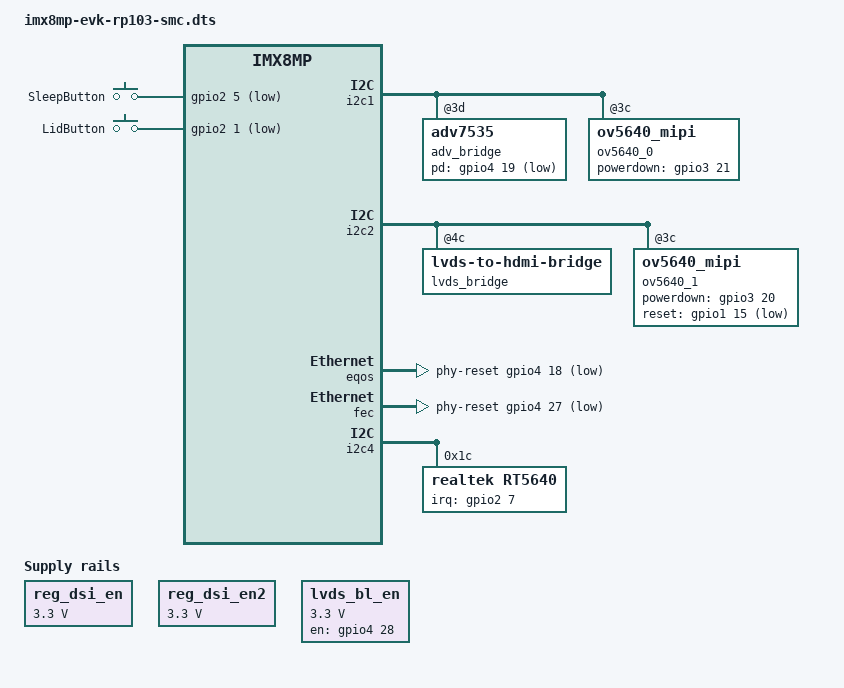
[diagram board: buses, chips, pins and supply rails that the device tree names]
// SPDX-License-Identifier: (GPL-2.0+ OR MIT)
/*
 * Copyright 2019 NXP
 */
#include "imx8mp-evk.dts"

/delete-node/ &reg_m2_3v3;
/delete-node/ &lvds_bl_pwren;
/delete-node/ &rt5640;
/delete-node/ &reg_vdcdc6_5v;
/{
    hms_pwr_3g {
		/delete-property/ chip_power_gpio;
    };

	reg_dsi_en: dsien {
		compatible = "regulator-gpio";
		pinctrl-names = "default";
		pinctrl-0 = <&pinctrl_dsi_en>;
		regulator-min-microvolt = <3300000>;
		regulator-max-microvolt = <3300000>;
		regulator-name = "gpio_dvfs";
		gpios = <&gpio4 22 GPIO_ACTIVE_LOW>;
		states = <3300000 0x1 3300000 0x0>;
		enable-active-low;
		regulator-always-on;
	};

	reg_dsi_en2: dsien2 {
		compatible = "regulator-gpio";
		pinctrl-names = "default";
		pinctrl-0 = <&pinctrl_dsi_en2>;
		regulator-min-microvolt = <3300000>;
		regulator-max-microvolt = <3300000>;
		regulator-name = "gpio_dvfs2";
		gpios = <&gpio2 10 GPIO_ACTIVE_HIGH>;
		states = <3300000 0x1 3300000 0x0>;
		enable-active-high;
		regulator-always-on;
	};

	lvds_bl_en: regulator-lvds-bl-en {
		compatible = "regulator-fixed";
		regulator-name = "lvds-bl-en";
		regulator-min-microvolt = <3300000>;
		regulator-max-microvolt = <3300000>;
		gpio = <&gpio4 28 GPIO_ACTIVE_HIGH>;
		enable-active-high;
		regulator-always-on;
	};

	lvds_backlight: lvds_backlight {
		/delete-property/ pwms;
		pwms = <&pwm2 0 100000>;
	};

	gpio-keys {
        compatible = "gpio-keys";
        pinctrl-names = "default";
        pinctrl-0 = <&pinctrl_gpio_keys>;

        sleep {
            label = "SleepButton";
            gpios = <&gpio2 5 1>;
            linux,code = <KEY_SLEEP>;
            gpio-key,wakeup;
            wakeup-source;
            status = "okay";
        };

        lid {
            label = "LidButton";
            gpios = <&gpio2 1 1>;
            linux,code = <KEY_WAKEUP>;
            wakeup-source;
            status = "okay";
        };


    };


};

&i2c1 {
	adv_bridge: adv7535@3d {
        pinctrl-0 = <&pinctrl_lvds>;
        pd-gpios = <&gpio4 19 GPIO_ACTIVE_LOW>;
	};

	ov5640_0: ov5640_mipi@3c {
		powerdown-gpios = <&gpio3 21 GPIO_ACTIVE_HIGH>;
	};


};

&i2c2 {
	lvds_bridge: lvds-to-hdmi-bridge@4c {
	/delete-property/ reset-gpios; 
	};

    ov5640_1: ov5640_mipi@3c {
		pinctrl-0 = <&pinctrl_csi1_pwn>, <&pinctrl_csi1_rst>;
		clocks = <&clk IMX8MP_CLK_IPP_DO_CLKO1>;
		assigned-clocks = <&clk IMX8MP_CLK_IPP_DO_CLKO1>;
		powerdown-gpios = <&gpio3 20 GPIO_ACTIVE_HIGH>;
		reset-gpios = <&gpio1 15 GPIO_ACTIVE_LOW>;
	};


};

&eqos {
	pinctrl-names = "default";
	pinctrl-0 = <&pinctrl_eqos>;
    phy-reset-gpios = <&gpio4 18 GPIO_ACTIVE_LOW>;
	status = "okay";
};

&fec {
	pinctrl-names = "default";
	pinctrl-0 = <&pinctrl_fec>;
    phy-reset-gpios = <&gpio4 27 GPIO_ACTIVE_LOW>;
	status = "okay";
};

&i2c4 {
    rt5640: rt5640@1c {
        compatible = "realtek,rt5640";
		pinctrl-names = "default";
		pinctrl-0 = <&pinctrl_codec_int_b>;
        reg = <0x1c>;
        clocks = <&audiomix_clk IMX8MP_CLK_AUDIOMIX_SAI3_MCLK1>;
		clock-names = "mclk";
        interrupt-parent = <&gpio2>;
		interrupts = <7 GPIO_ACTIVE_LOW>;
        //PWENB-supply = <&reg_audio>;
        amic-mono;
		realtek,in1-differential;
        status = "okay";
    };
};

&usdhc2 {
	/delete-property/ pinctrl-names; 
	pinctrl-names = "default";
	/delete-property/ pinctrl-0; 
	/delete-property/ pinctrl-1; 
};

&pwm1 {
	  /delete-property/ pinctrl-0;
       status = "disabled";
};


&iomuxc {
	pinctrl-names = "default";
	pinctrl-0 = <&pinctrl_hog>,<&pinctrl_m2_5g>;

	pinctrl_hog: hoggrp {
		/delete-property/ fsl,pins; 
		fsl,pins = <
			MX8MP_IOMUXC_HDMI_DDC_SCL__HDMIMIX_HDMI_SCL	0x400001c3
			MX8MP_IOMUXC_HDMI_DDC_SDA__HDMIMIX_HDMI_SDA	0x400001c3
			MX8MP_IOMUXC_HDMI_HPD__HDMIMIX_HDMI_HPD		0x40000019
			MX8MP_IOMUXC_HDMI_CEC__HDMIMIX_HDMI_CEC		0x40000019
			MX8MP_IOMUXC_SD1_CLK__GPIO2_IO00		    0x19
			MX8MP_IOMUXC_SD1_DATA0__GPIO2_IO02		    0x19
			MX8MP_IOMUXC_SD1_DATA1__GPIO2_IO03		    0x19
			MX8MP_IOMUXC_SD1_DATA2__GPIO2_IO04		    0x19
			MX8MP_IOMUXC_SD1_DATA4__GPIO2_IO06 		    0x19
			MX8MP_IOMUXC_SD1_STROBE__GPIO2_IO11			0x16
			MX8MP_IOMUXC_SAI1_RXD1__GPIO4_IO03			0x19
			MX8MP_IOMUXC_SPDIF_TX__GPIO5_IO03			0x19
			MX8MP_IOMUXC_SPDIF_EXT_CLK__GPIO5_IO05      0x19    /*M2_I2C_IRQ_B*/
			//MX8MP_IOMUXC_GPIO1_IO10__GPIO1_IO10			0x19    /*USBOTG1_ID*/
			MX8MP_IOMUXC_GPIO1_IO11__GPIO1_IO11			0x19    /*USBOTG2_ID*/
			//MX8MP_IOMUXC_SPDIF_RX__GPIO5_IO04			0x19
			MX8MP_IOMUXC_GPIO1_IO00__GPIO1_IO00			0x19    /*BATLOW_B*/
			MX8MP_IOMUXC_SAI1_MCLK__GPIO4_IO20			0x19    /*AT_DET_B*/
			MX8MP_IOMUXC_SAI2_RXFS__GPIO4_IO21		    0x19
			//MX8MP_IOMUXC_SAI2_MCLK__GPIO4_IO27		    0x19
		>;
	};

	pinctrl_dsi_en2: dsi_en2grp {
		fsl,pins = <
			MX8MP_IOMUXC_SD1_RESET_B__GPIO2_IO10		0x19
		>;
	};

	pinctrl_m2_5g: m2vgrp {
		/delete-property/ fsl,pins; 
		fsl,pins = <
			MX8MP_IOMUXC_GPIO1_IO03__GPIO1_IO03		0x154
			MX8MP_IOMUXC_NAND_DATA00__GPIO3_IO06	0x154
			MX8MP_IOMUXC_NAND_DATA01__GPIO3_IO07	0x154
			MX8MP_IOMUXC_NAND_DATA02__GPIO3_IO08	0x154
			MX8MP_IOMUXC_NAND_DATA03__GPIO3_IO09	0x154
			//MX8MP_IOMUXC_SD1_RESET_B__GPIO2_IO10	0x154
		>;
	};
	pinctrl_eqos: eqosgrp {
		/delete-property/ fsl,pins; 
		fsl,pins = <
			MX8MP_IOMUXC_ENET_MDC__ENET_QOS_MDC			0x1f
			MX8MP_IOMUXC_ENET_MDIO__ENET_QOS_MDIO		0x1f
			MX8MP_IOMUXC_ENET_RD0__ENET_QOS_RGMII_RD0	0x91
			MX8MP_IOMUXC_ENET_RD1__ENET_QOS_RGMII_RD1	0x91
			MX8MP_IOMUXC_ENET_RD2__ENET_QOS_RGMII_RD2	0x91
			MX8MP_IOMUXC_ENET_RD3__ENET_QOS_RGMII_RD3	0x91
			MX8MP_IOMUXC_ENET_RXC__CCM_ENET_QOS_CLOCK_GENERATE_RX_CLK	0x91
			MX8MP_IOMUXC_ENET_RX_CTL__ENET_QOS_RGMII_RX_CTL	0x91
			MX8MP_IOMUXC_ENET_TD0__ENET_QOS_RGMII_TD0		0x1f
			MX8MP_IOMUXC_ENET_TD1__ENET_QOS_RGMII_TD1		0x1f
			MX8MP_IOMUXC_ENET_TD2__ENET_QOS_RGMII_TD2		0x1f
			MX8MP_IOMUXC_ENET_TD3__ENET_QOS_RGMII_TD3		0x1f
			MX8MP_IOMUXC_ENET_TX_CTL__ENET_QOS_RGMII_TX_CTL	0x1f
			MX8MP_IOMUXC_ENET_TXC__CCM_ENET_QOS_CLOCK_GENERATE_TX_CLK	0x1f
			//MX8MP_IOMUXC_GPIO1_IO09__GPIO1_IO09		0x19
			//MX8MP_IOMUXC_NAND_CE0_B__GPIO3_IO01             0x19
			MX8MP_IOMUXC_GPIO1_IO07__CCM_EXT_CLK4		0x19    //ETH_REF_CLK/ECLK4
			MX8MP_IOMUXC_GPIO1_IO08__ENET_QOS_1588_EVENT0_IN		0x19    //ETH0_1588PPS_IN
			MX8MP_IOMUXC_GPIO1_IO05__GPIO1_IO05		0x19	//ETH0_INT_B
			MX8MP_IOMUXC_SAI1_TXD6__GPIO4_IO18		    0x19  //rst
		>;
	};

	pinctrl_fec: fecgrp {
		/delete-property/ fsl,pins; 
		fsl,pins = <
			MX8MP_IOMUXC_SAI1_RXD2__ENET1_MDC		0x3
			MX8MP_IOMUXC_SAI1_RXD3__ENET1_MDIO		0x3
			MX8MP_IOMUXC_SAI1_RXD4__ENET1_RGMII_RD0		0x91
			MX8MP_IOMUXC_SAI1_RXD5__ENET1_RGMII_RD1		0x91
			MX8MP_IOMUXC_SAI1_RXD6__ENET1_RGMII_RD2		0x91
			MX8MP_IOMUXC_SAI1_RXD7__ENET1_RGMII_RD3		0x91
			MX8MP_IOMUXC_SAI1_TXC__ENET1_RGMII_RXC		0x91
			MX8MP_IOMUXC_SAI1_TXFS__ENET1_RGMII_RX_CTL	0x91
			MX8MP_IOMUXC_SAI1_TXD0__ENET1_RGMII_TD0		0x1f
			MX8MP_IOMUXC_SAI1_TXD1__ENET1_RGMII_TD1		0x1f
			MX8MP_IOMUXC_SAI1_TXD2__ENET1_RGMII_TD2		0x1f
			MX8MP_IOMUXC_SAI1_TXD3__ENET1_RGMII_TD3		0x1f
			MX8MP_IOMUXC_SAI1_TXD4__ENET1_RGMII_TX_CTL	0x1f
			MX8MP_IOMUXC_SAI1_TXD5__ENET1_RGMII_TXC		0x1f
			MX8MP_IOMUXC_SAI1_RXD0__GPIO4_IO02		0x19
			MX8MP_IOMUXC_GPIO1_IO06__GPIO1_IO06		0x19
			//MX8MP_IOMUXC_NAND_ALE__GPIO3_IO00		0x19
			MX8MP_IOMUXC_SAI2_MCLK__GPIO4_IO27		 0x19
		>;
	};

	pinctrl_codec_int_b: codec_int_bgrp {
		/delete-property/ fsl,pins; 
		fsl,pins = <
			MX8MP_IOMUXC_SAI3_RXC__GPIO4_IO29		0x16    /*HP_DET_B*/
			MX8MP_IOMUXC_SD1_DATA5__GPIO2_IO07		0x16
			MX8MP_IOMUXC_SD1_DATA7__GPIO2_IO09      0x16   /*MIC_DET_B*/
		>;
	};

	pinctrl_csi0_pwn: csi0_pwn_grp {
		/delete-property/ fsl,pins; 
		fsl,pins = <
			MX8MP_IOMUXC_SAI5_RXD0__GPIO3_IO21      0x19
		>;
	};

	pinctrl_csi1_pwn: csi1_pwn_grp {
		/delete-property/ fsl,pins; 
		fsl,pins = <
			MX8MP_IOMUXC_SAI5_RXC__GPIO3_IO20       0x19
		>;
	};

	pinctrl_csi1_rst: csi1_rst_grp {
		/delete-property/ fsl,pins; 
		fsl,pins = <
			MX8MP_IOMUXC_GPIO1_IO15__GPIO1_IO15     0x19
		>;
	};

	/delete-node/ pinctrl_csi1_mclk; 

    pinctrl_gpio_keys: gpiokeysgrp {
		fsl,pins = <
			MX8MP_IOMUXC_SD1_DATA3__GPIO2_IO05     0x156 //SLEEP_B
			MX8MP_IOMUXC_SD1_CMD__GPIO2_IO01       0x156 //LID_B
		>;
	};

	pinctrl_pwr_3g: pwr3ggrp {
		/delete-property/ fsl,pins;
        fsl,pins = <
			MX8MP_IOMUXC_SAI2_TXFS__GPIO4_IO24	0x16
			MX8MP_IOMUXC_SAI2_TXC__GPIO4_IO25	0x16
			MX8MP_IOMUXC_SAI2_TXD0__GPIO4_IO26	0x16
			MX8MP_IOMUXC_SAI2_RXD0__GPIO4_IO23	0x16
        >;
    };

	pinctrl_lvds: lvdsgrp {
		/delete-property/ fsl,pins;
		fsl,pins = <
			MX8MP_IOMUXC_SAI1_RXC__GPIO4_IO01	0x1c4
			MX8MP_IOMUXC_SAI1_TXD7__GPIO4_IO19	0x1c4
			MX8MP_IOMUXC_SAI3_RXFS__GPIO4_IO28	0x1c4
		>;
	};
	pinctrl_sai3: sai3grp {
		/delete-property/ fsl,pins;
		fsl,pins = <
			MX8MP_IOMUXC_SAI3_TXFS__AUDIOMIX_SAI3_TX_SYNC	0xd6
			MX8MP_IOMUXC_SAI3_TXC__AUDIOMIX_SAI3_TX_BCLK	0xd6
			MX8MP_IOMUXC_SAI3_RXD__AUDIOMIX_SAI3_RX_DATA00	0xd6
			MX8MP_IOMUXC_SAI3_TXD__AUDIOMIX_SAI3_TX_DATA00	0xd6
			MX8MP_IOMUXC_SAI3_MCLK__AUDIOMIX_SAI3_MCLK	0xd6
			//MX8MP_IOMUXC_SAI3_RXFS__GPIO4_IO28		0xd6
		>;
	};

	pinctrl_pwm2: pwm2grp {
		/delete-property/ fsl,pins;
		fsl,pins = <
			MX8MP_IOMUXC_SPDIF_RX__PWM2_OUT	0x116
		>;
	};


	/delete-node/ pinctrl_usdhc1; 
	/delete-node/ pinctrl_usdhc1_100mhz; 
	/delete-node/ pinctrl_usdhc1_200mhz; 
	/delete-node/ pinctrl_pwm1;
	/delete-node/ pinctrl_flexcan1_reg;
	/delete-node/ pinctrl_typec_mux;
};
